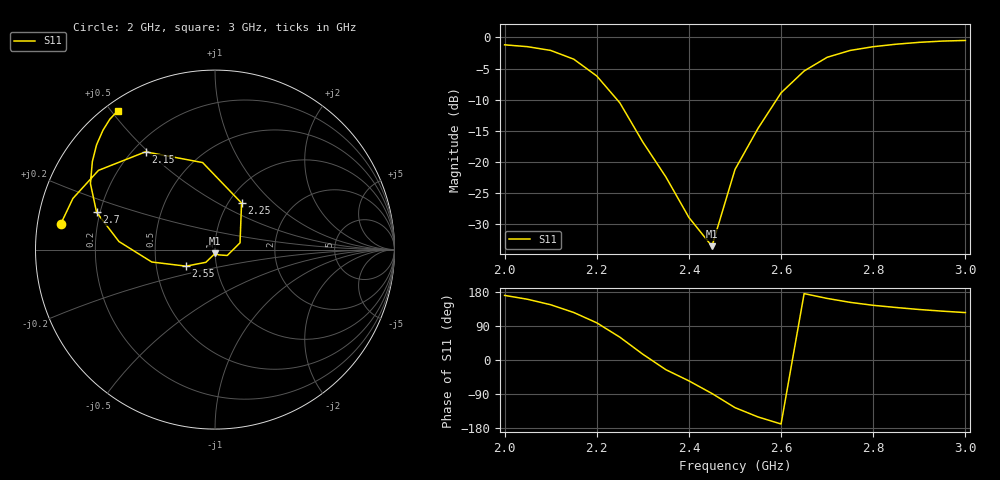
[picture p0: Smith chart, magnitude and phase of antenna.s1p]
! Touchstone file generated for PSI Toolbox Testing
! Device: Simulated Wi-Fi Dipole Antenna
! Frequency Range: 2.0 GHz - 3.0 GHz
! Format: Frequency (MHz), S11 Magnitude (dB), S11 Phase (deg)
# MHZ S DB R 50
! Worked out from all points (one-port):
!   21 points, 2 GHz to 3 GHz, reference 50 ohm
!   lowest |S11| = -33.5 dB at 2.45 GHz (marker M1), VSWR 1.04, Z = 50 - j2.11 ohm
!   |S11| at or under -10 dB: 2.244 GHz to 2.59 GHz (346.2 MHz wide, 14.3 % of centre)
!   S11 on the Smith chart (normalised r, x): 2 GHz: 0.07, +0.08; 2.15 GHz: 0.25, +0.49; 2.25 GHz: 1.15, +0.65; 2.55 GHz: 0.71, -0.14; 2.7 GHz: 0.19, +0.15; 3 GHz: 0.04, +0.52
2000  -1.20 170.5
2050  -1.50 160.2
2100  -2.10 145.8
2150  -3.50 125.4
2200  -6.20 98.1
2250  -10.50 60.3
2300  -16.80 15.2
2350  -22.40 -25.6
2400  -28.90 -55.1
2450  -33.50 -88.4
2500  -21.20 -125.7
2550  -14.60 -150.3
2600  -8.90 -168.9
2650  -5.40 175.2
2700  -3.20 162.5
2750  -2.10 152.1
2800  -1.50 144.3
2850  -1.10 138.5
2900  -0.80 133.2
2950  -0.60 128.9
3000  -0.50 125.1
